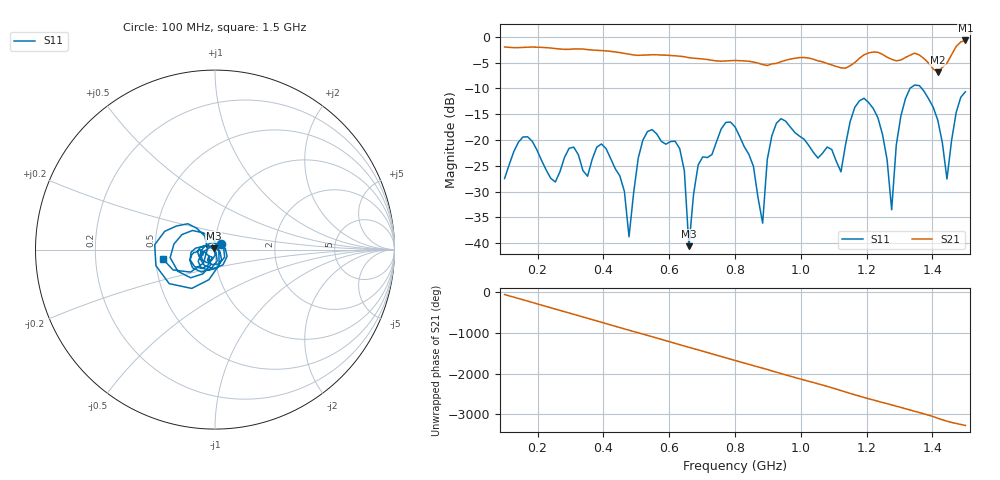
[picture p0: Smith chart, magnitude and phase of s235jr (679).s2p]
! NanoVNA-App
! Date: 2025-09-25 15:09:27
! Start: 100MHz Stop: 1,5GHz Points: 101
! S-Parameter data: F S11 S21 S12 S22
# Hz S RI R 50
!  Frequency  S11_Real  S11_Imag  S21_Real  S21_Imag  S12_Real  S12_Imag  S22_Real  S22_Imag
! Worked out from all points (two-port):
!   101 points, 100 MHz to 1.5 GHz, reference 50 ohm
!   highest |S21| = -0.69 dB at 1.5 GHz (marker M1); lowest = -6.8 dB at 1.416 GHz (marker M2)
!   |S21| within 3 dB of the highest: start of sweep to 622.9 MHz; 1.188 GHz to 1.256 GHz (68.03 MHz wide, 5.57 % of centre) (the widest 2 of 4)
!   lowest |S11| = -40.6 dB at 660 MHz (marker M3), VSWR 1.02, Z = 49.3 + j0.605 ohm
!   |S11| at or under -10 dB: start of sweep to 1.332 GHz; 1.367 GHz to end of sweep
!   S12 and S22 are empty: the file has one direction only
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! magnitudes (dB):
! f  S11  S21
! 100 MHz  -27.5  -2.0
! 156 MHz  -19.4  -2.0
! 338 MHz  -25.9  -2.4
! 408 MHz  -21.6  -2.7
! 478 MHz  -38.8  -3.4
! 520 MHz  -20.0  -3.5
! 576 MHz  -20.3  -3.5
! 632 MHz  -21.7  -3.7
! 660 MHz  -40.6  -4.0
! 688 MHz  -24.9  -4.2
! 800 MHz  -17.4  -4.6
! 884 MHz  -36.1  -5.4
! 926 MHz  -16.7  -5.1
! 1.038 GHz  -22.4  -4.3
! 1.122 GHz  -26.2  -6.0
! 1.192 GHz  -11.9  -3.5
! 1.248 GHz  -18.9  -3.4
! 1.276 GHz  -33.5  -4.4
! 1.332 GHz  -10.0  -3.6
! 1.416 GHz  -16.1  -6.8
! 1.444 GHz  -27.6  -5.1
! 1.5 GHz  -10.6  -0.7
